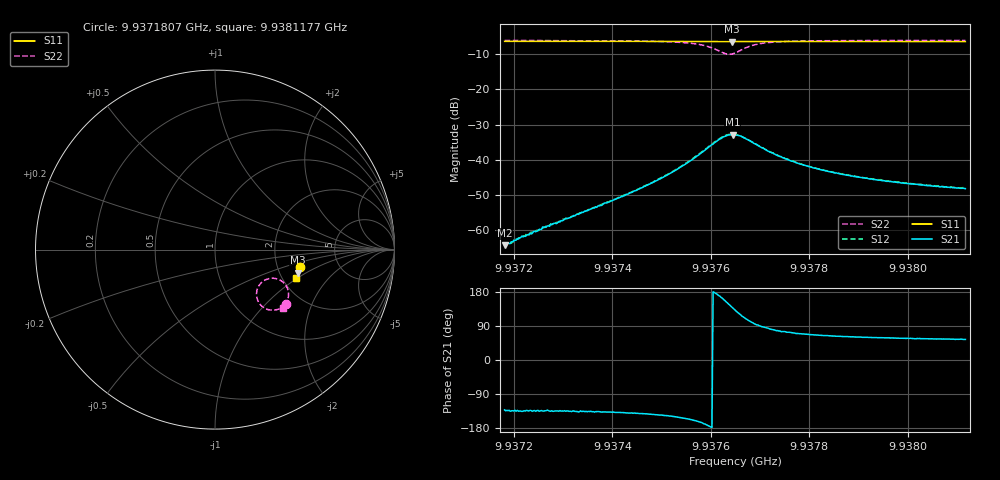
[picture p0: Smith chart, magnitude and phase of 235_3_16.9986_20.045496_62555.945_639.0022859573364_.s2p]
#  HZ  S  RI  R  50.00
! Rohde & Schwarz Vector Network Analyzer
! Rohde-Schwarz,ZNB20-2Port,1311601062101988,3.16
! Created: UTC 3/20/2024, 11:02:39 PM
! freq[Hz]  re:S11  im:S11  re:S21  im:S21  re:S12  im:S12  re:S22  im:S22
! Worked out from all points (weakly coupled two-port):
!   401 points, 9.9371807 GHz to 9.9381177 GHz, reference 50 ohm
!   highest |S21| = -32.87 dB at 9.9376445 GHz (marker M1); lowest = -64.3 dB at 9.9371807 GHz (marker M2)
!   lowest |S11| = -6.4 dB at 9.9376422 GHz (marker M3), VSWR 2.84, Z = 126 - j41.9 ohm
!   |S11| at or under -10 dB: nowhere
!   |S22| runs from -10.0 to -6.1 dB; largest |S21 - S12| = 0.001
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9.93718071e9  0.4737 -0.0991  -0.000405 -0.000456  -0.000418 -0.000414  0.3956 -0.3026
9.93723693e9  0.4728 -0.1027  -0.000637 -0.000627  -0.000641 -0.000684  0.391 -0.3068
9.93726269e9  0.4722 -0.1045  -0.000766 -0.000795  -0.000772 -0.00076  0.3886 -0.309
9.93733765e9  0.4706 -0.1095  -0.00129 -0.00124  -0.0013 -0.00125  0.3808 -0.316
9.93743603e9  0.4686 -0.1163  -0.0026 -0.00217  -0.00264 -0.00217  0.3644 -0.3263
9.93749458e9  0.4672 -0.1204  -0.00433 -0.00301  -0.0044 -0.00303  0.347 -0.3338
9.93754143e9  0.4658 -0.1235  -0.00716 -0.00373  -0.00736 -0.00368  0.3208 -0.3377
9.93758828e9  0.4641 -0.1266  -0.0135 -0.00264  -0.0138 -0.00236  0.2692 -0.3215
9.93761873e9  0.4626 -0.1279  -0.0194 0.00403  -0.0196 0.00485  0.2317 -0.259
9.93763278e9  0.462 -0.1281  -0.0195 0.0104  -0.0196 0.0112  0.2398 -0.21
9.93764215e9  0.4619 -0.1282  -0.0176 0.0144  -0.0173 0.0152  0.2618 -0.1813
9.9376445e9  0.462 -0.1282  -0.0168 0.0153  -0.0165 0.0161  0.2688 -0.1757
9.93764918e9  0.462 -0.1283  -0.015 0.0168  -0.0148 0.0176  0.2849 -0.1668
9.93766089e9  0.4623 -0.1287  -0.0106 0.019  -0.00965 0.0194  0.3252 -0.1595
9.93767495e9  0.4625 -0.1295  -0.00524 0.0186  -0.00466 0.0189  0.364 -0.1707
9.93770305e9  0.4628 -0.1317  0.000507 0.0149  0.000862 0.015  0.4005 -0.2094
9.93774287e9  0.4623 -0.1347  0.00293 0.0107  0.00286 0.0107  0.4098 -0.2482
9.93777801e9  0.4614 -0.1373  0.00305 0.00832  0.00323 0.00835  0.4078 -0.2682
9.93780612e9  0.4608 -0.139  0.00305 0.00715  0.00324 0.00714  0.405 -0.2791
9.93788107e9  0.459 -0.1443  0.00286 0.00524  0.00298 0.00524  0.3971 -0.2972
9.93796305e9  0.4569 -0.1498  0.00255 0.00416  0.00269 0.00415  0.3894 -0.309
9.93811765e9  0.4529 -0.1597  0.00226 0.00315  0.00235 0.00315  0.3778 -0.3239
